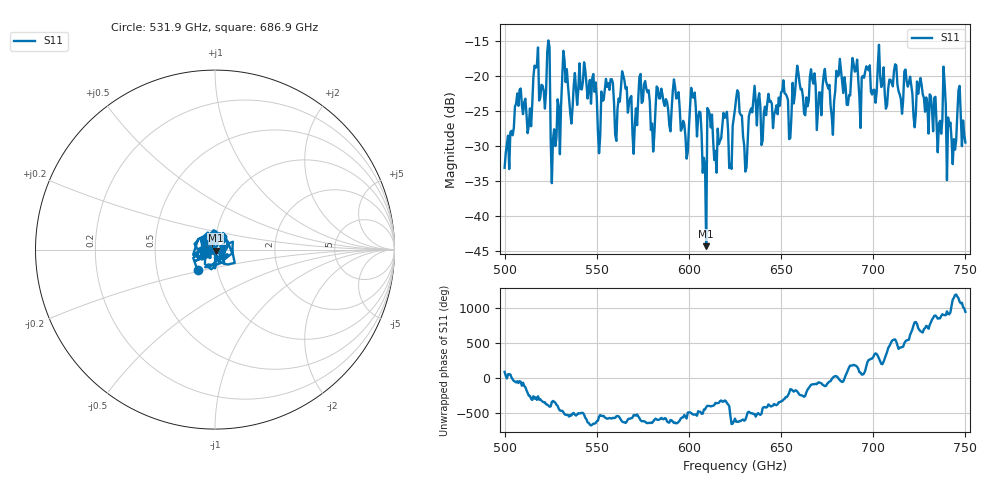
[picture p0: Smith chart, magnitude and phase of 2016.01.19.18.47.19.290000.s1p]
!Created with skrf (http://scikit-rf.org).
# GHz S RI R 50.0
!freq ReS11 ImS11
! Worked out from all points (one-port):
!   401 points, 500 GHz to 750 GHz, reference 50 ohm
!   lowest |S11| = -44.3 dB at 609.4 GHz (marker M1), VSWR 1.01, Z = 50.3 - j0.53 ohm
!   |S11| at or under -10 dB: start of sweep to end of sweep
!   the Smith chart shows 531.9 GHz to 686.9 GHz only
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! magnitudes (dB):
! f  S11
! 500 GHz  -33.1
! 507.5 GHz  -24.3
! 513.8 GHz  -24.6
! 516.9 GHz  -18.8
! 523.1 GHz  -16.6
! 526.2 GHz  -29.0
! 531.2 GHz  -20.4
! 548.8 GHz  -22.3
! 551.9 GHz  -28.6
! 562.5 GHz  -23.7
! 570.6 GHz  -27.2
! 574.4 GHz  -23.9
! 580.6 GHz  -30.8
! 583.8 GHz  -23.2
! 593.8 GHz  -23.0
! 598.8 GHz  -31.8
! 602.5 GHz  -23.1
! 608.1 GHz  -31.7
! 609.4 GHz  -44.3
! 611.2 GHz  -25.4
! 622.5 GHz  -32.6
! 625 GHz  -24.7
! 630.6 GHz  -33.6
! 635 GHz  -23.2
! 656.2 GHz  -21.0
! 687.5 GHz  -22.8
! 718.8 GHz  -21.5
! 750 GHz  -29.5
